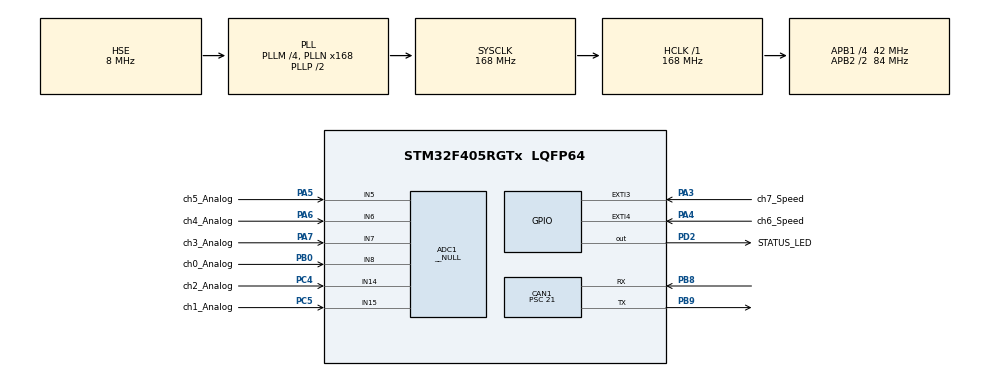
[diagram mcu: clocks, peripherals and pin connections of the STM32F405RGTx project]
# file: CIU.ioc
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ADC1.Channel-10\#ChannelRegularConversion=ADC_CHANNEL_6
ADC1.Channel-11\#ChannelRegularConversion=ADC_CHANNEL_5
ADC1.Channel-6\#ChannelRegularConversion=ADC_CHANNEL_8
ADC1.Channel-7\#ChannelRegularConversion=ADC_CHANNEL_15
ADC1.Channel-8\#ChannelRegularConversion=ADC_CHANNEL_14
ADC1.Channel-9\#ChannelRegularConversion=ADC_CHANNEL_7
ADC1.ClockPrescaler=ADC_CLOCK_SYNC_PCLK_DIV4
ADC1.ContinuousConvMode=DISABLE
ADC1.DMAContinuousRequests=DISABLE
ADC1.EOCSelection=ADC_EOC_SEQ_CONV
ADC1.Mode=__NULL
ADC1.NbrOfConversion=6
ADC1.NbrOfConversionFlag=1
ADC1.Rank-10\#ChannelRegularConversion=5
ADC1.Rank-11\#ChannelRegularConversion=6
ADC1.Rank-6\#ChannelRegularConversion=1
ADC1.Rank-7\#ChannelRegularConversion=2
ADC1.Rank-8\#ChannelRegularConversion=3
ADC1.Rank-9\#ChannelRegularConversion=4
ADC1.SamplingTime-10\#ChannelRegularConversion=ADC_SAMPLETIME_56CYCLES
ADC1.SamplingTime-11\#ChannelRegularConversion=ADC_SAMPLETIME_56CYCLES
ADC1.SamplingTime-6\#ChannelRegularConversion=ADC_SAMPLETIME_56CYCLES
ADC1.SamplingTime-7\#ChannelRegularConversion=ADC_SAMPLETIME_56CYCLES
ADC1.SamplingTime-8\#ChannelRegularConversion=ADC_SAMPLETIME_56CYCLES
ADC1.SamplingTime-9\#ChannelRegularConversion=ADC_SAMPLETIME_56CYCLES
ADC1.ScanConvMode=ENABLE
ADC1.master=1
CAN1.BS1=CAN_BS1_2TQ
CAN1.CalculateBaudRate=500000
CAN1.CalculateTimeBit=2000
CAN1.CalculateTimeQuantum=500.0
CAN1.Prescaler=21
Dma.ADC1.0.Direction=DMA_PERIPH_TO_MEMORY
Dma.ADC1.0.FIFOMode=DMA_FIFOMODE_DISABLE
Dma.ADC1.0.Instance=DMA2_Stream0
Dma.ADC1.0.MemDataAlignment=DMA_MDATAALIGN_HALFWORD
Dma.ADC1.0.MemInc=DMA_MINC_ENABLE
Dma.ADC1.0.Mode=DMA_CIRCULAR
Dma.ADC1.0.PeriphDataAlignment=DMA_PDATAALIGN_HALFWORD
Dma.ADC1.0.PeriphInc=DMA_PINC_DISABLE
Dma.ADC1.0.Priority=DMA_PRIORITY_VERY_HIGH
Dma.Request0=ADC1
Mcu.Family=STM32F4
Mcu.Name=STM32F405RGTx
Mcu.Package=LQFP64
NVIC.ADC_IRQn=true\:1\:0\:true\:false\:true\:true\:true\:true
NVIC.DMA2_Stream0_IRQn=true\:0\:0\:false\:false\:true\:false\:true\:true
NVIC.EXTI3_IRQn=true\:2\:0\:true\:false\:true\:true\:true\:true
NVIC.EXTI4_IRQn=true\:2\:0\:true\:false\:true\:true\:true\:true
NVIC.PriorityGroup=NVIC_PRIORITYGROUP_4
NVIC.TIM3_IRQn=true\:3\:0\:true\:false\:true\:true\:true\:true
PA13.Mode=Serial_Wire
PA13.Signal=SYS_JTMS-SWDIO
PA14.Mode=Serial_Wire
PA14.Signal=SYS_JTCK-SWCLK
PA3.GPIO_Label=ch7_Speed
PA3.GPIO_PuPd=GPIO_PULLDOWN
PA3.Signal=GPXTI3
PA4.GPIO_Label=ch6_Speed
PA4.GPIO_PuPd=GPIO_PULLDOWN
PA4.Signal=GPXTI4
PA5.GPIO_Label=ch5_Analog
PA5.Signal=ADCx_IN5
PA6.GPIO_Label=ch4_Analog
PA6.Signal=ADCx_IN6
PA7.GPIO_Label=ch3_Analog
PA7.Signal=ADCx_IN7
PB0.GPIO_Label=ch0_Analog
PB0.Signal=ADCx_IN8
PB8.Mode=CAN_Activate
PB8.Signal=CAN1_RX
PB9.Mode=CAN_Activate
PB9.Signal=CAN1_TX
PC4.GPIO_Label=ch2_Analog
PC4.Signal=ADCx_IN14
PC5.GPIO_Label=ch1_Analog
PC5.Signal=ADCx_IN15
PD2.GPIO_Label=STATUS_LED
PD2.Signal=GPIO_Output
PH0-OSC_IN.Mode=HSE-External-Oscillator
PH0-OSC_IN.Signal=RCC_OSC_IN
PH1-OSC_OUT.Mode=HSE-External-Oscillator
PH1-OSC_OUT.Signal=RCC_OSC_OUT
ProjectManager.HeapSize=0x200
ProjectManager.StackSize=0x400
ProjectManager.TargetToolchain=CMake
RCC.48MHZClocksFreq_Value=84000000
RCC.AHBFreq_Value=168000000
RCC.APB1CLKDivider=RCC_HCLK_DIV4
RCC.APB1Freq_Value=42000000
RCC.APB1TimFreq_Value=84000000
RCC.APB2CLKDivider=RCC_HCLK_DIV2
RCC.APB2Freq_Value=84000000
RCC.APB2TimFreq_Value=168000000
RCC.CortexFreq_Value=168000000
RCC.HCLKFreq_Value=168000000
RCC.HSE_VALUE=8000000
RCC.HSI_VALUE=16000000
RCC.LSE_VALUE=32768
RCC.PLLM=4
RCC.PLLN=168
RCC.PLLSourceVirtual=RCC_PLLSOURCE_HSE
RCC.SYSCLKFreq_VALUE=168000000
RCC.SYSCLKSource=RCC_SYSCLKSOURCE_PLLCLK
RCC.VCOOutputFreq_Value=336000000
SH.ADCx_IN14.0=ADC1_IN14,IN14
SH.ADCx_IN15.0=ADC1_IN15,IN15
SH.ADCx_IN5.0=ADC1_IN5,IN5
SH.ADCx_IN6.0=ADC1_IN6,IN6
SH.ADCx_IN7.0=ADC1_IN7,IN7
SH.ADCx_IN8.0=ADC1_IN8,IN8
TIM3.Period=1000
TIM3.Prescaler=8400
VP_TIM3_VS_ClockSourceINT.Mode=Internal
board=custom

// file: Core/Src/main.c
/* USER CODE BEGIN Header */
/**
  ******************************************************************************
  * @file           : main.c
  * @brief          : Main program body
  ******************************************************************************
  * @attention
  *
  * Copyright (c) 2024 STMicroelectronics.
  * All rights reserved.
  *
  * This software is licensed under terms that can be found in the LICENSE file
  * in the root directory of this software component.
  * If no LICENSE file comes with this software, it is provided AS-IS.
  *
  ******************************************************************************
  */
/* USER CODE END Header */
#include "main.h"

/* USER CODE BEGIN Includes */
#include "stdint.h"
#include "stdio.h"
#include "string.h"
#include "stdbool.h"
#include "interruptHandler.h"
#include "canBus.h"
#include "adc.h"
#include "common_defs.h"

/* USER CODE END Includes */

ADC_HandleTypeDef hadc1;
DMA_HandleTypeDef hdma_adc1;

CAN_HandleTypeDef hcan1;

TIM_HandleTypeDef htim3;

void SystemClock_Config(void);
static void MX_GPIO_Init(void);
static void MX_DMA_Init(void);
static void MX_CAN1_Init(void);
static void MX_TIM3_Init(void);
static void MX_ADC1_Init(void);

int main(void)
{

  /* MCU Configuration--------------------------------------------------------*/

  /* Reset of all peripherals, Initializes the Flash interface and the Systick. */
  HAL_Init();

  /* USER CODE BEGIN Init */

  // initCANHeader();

  /* USER CODE END Init */

  /* Configure the system clock */
  SystemClock_Config();

  /* Initialize all configured peripherals */
  MX_GPIO_Init();
  MX_DMA_Init();
  MX_CAN1_Init();
  MX_TIM3_Init();
  MX_ADC1_Init();
  /* USER CODE BEGIN 2 */

  HAL_CAN_Start(&hcan1);
  HAL_TIM_Base_Start_IT(&htim3);
  adc_start_dma();

  /* USER CODE END 2 */

  /* Infinite loop */
  while (1)
  {

    /* USER CODE BEGIN 3 */

    HAL_Delay(1000);

  }
  /* USER CODE END 3 */
}

void SystemClock_Config(void)
{
  RCC_OscInitTypeDef RCC_OscInitStruct = {0};
  RCC_ClkInitTypeDef RCC_ClkInitStruct = {0};

  /** Configure the main internal regulator output voltage
  */
  __HAL_RCC_PWR_CLK_ENABLE();
  __HAL_PWR_VOLTAGESCALING_CONFIG(PWR_REGULATOR_VOLTAGE_SCALE1);

  /** Initializes the RCC Oscillators according to the specified parameters
  * in the RCC_OscInitTypeDef structure.
  */
  RCC_OscInitStruct.OscillatorType = RCC_OSCILLATORTYPE_HSE;
  RCC_OscInitStruct.HSEState = RCC_HSE_ON;
  RCC_OscInitStruct.PLL.PLLState = RCC_PLL_ON;
  RCC_OscInitStruct.PLL.PLLSource = RCC_PLLSOURCE_HSE;
  RCC_OscInitStruct.PLL.PLLM = 4;
  RCC_OscInitStruct.PLL.PLLN = 168;
  RCC_OscInitStruct.PLL.PLLP = RCC_PLLP_DIV2;
  RCC_OscInitStruct.PLL.PLLQ = 4;
  if (HAL_RCC_OscConfig(&RCC_OscInitStruct) != HAL_OK)
  {
    Error_Handler();
  }

  /** Initializes the CPU, AHB and APB buses clocks
  */
  RCC_ClkInitStruct.ClockType = RCC_CLOCKTYPE_HCLK|RCC_CLOCKTYPE_SYSCLK
                              |RCC_CLOCKTYPE_PCLK1|RCC_CLOCKTYPE_PCLK2;
  RCC_ClkInitStruct.SYSCLKSource = RCC_SYSCLKSOURCE_PLLCLK;
  RCC_ClkInitStruct.AHBCLKDivider = RCC_SYSCLK_DIV1;
  RCC_ClkInitStruct.APB1CLKDivider = RCC_HCLK_DIV4;
  RCC_ClkInitStruct.APB2CLKDivider = RCC_HCLK_DIV2;

  if (HAL_RCC_ClockConfig(&RCC_ClkInitStruct, FLASH_LATENCY_5) != HAL_OK)
  {
    Error_Handler();
  }
}

static void MX_ADC1_Init(void)
{

  ADC_ChannelConfTypeDef sConfig = {0};

  /** Configure the global features of the ADC (Clock, Resolution, Data Alignment and number of conversion)
  */
  hadc1.Instance = ADC1;
  hadc1.Init.ClockPrescaler = ADC_CLOCK_SYNC_PCLK_DIV4;
  hadc1.Init.Resolution = ADC_RESOLUTION_12B;
  hadc1.Init.ScanConvMode = ENABLE;
  hadc1.Init.ContinuousConvMode = DISABLE;
  hadc1.Init.DiscontinuousConvMode = DISABLE;
  hadc1.Init.ExternalTrigConvEdge = ADC_EXTERNALTRIGCONVEDGE_NONE;
  hadc1.Init.ExternalTrigConv = ADC_SOFTWARE_START;
  hadc1.Init.DataAlign = ADC_DATAALIGN_RIGHT;
  hadc1.Init.NbrOfConversion = 6;
  hadc1.Init.DMAContinuousRequests = DISABLE;
  hadc1.Init.EOCSelection = ADC_EOC_SEQ_CONV;
  if (HAL_ADC_Init(&hadc1) != HAL_OK)
  {
    Error_Handler();
  }

  /** Configure for the selected ADC regular channel its corresponding rank in the sequencer and its sample time.
  */
  sConfig.Channel = ADC_CHANNEL_8;
  sConfig.Rank = 1;
  sConfig.SamplingTime = ADC_SAMPLETIME_56CYCLES;
  if (HAL_ADC_ConfigChannel(&hadc1, &sConfig) != HAL_OK)
  {
    Error_Handler();
  }

  /** Configure for the selected ADC regular channel its corresponding rank in the sequencer and its sample time.
  */
  sConfig.Channel = ADC_CHANNEL_15;
  sConfig.Rank = 2;
  if (HAL_ADC_ConfigChannel(&hadc1, &sConfig) != HAL_OK)
  {
    Error_Handler();
  }

  /** Configure for the selected ADC regular channel its corresponding rank in the sequencer and its sample time.
  */
  sConfig.Channel = ADC_CHANNEL_14;
  sConfig.Rank = 3;
  if (HAL_ADC_ConfigChannel(&hadc1, &sConfig) != HAL_OK)
  {
    Error_Handler();
  }

  /** Configure for the selected ADC regular channel its corresponding rank in the sequencer and its sample time.
  */
  sConfig.Channel = ADC_CHANNEL_7;
  sConfig.Rank = 4;
  if (HAL_ADC_ConfigChannel(&hadc1, &sConfig) != HAL_OK)
  {
    Error_Handler();
  }

  /** Configure for the selected ADC regular channel its corresponding rank in the sequencer and its sample time.
  */
  sConfig.Channel = ADC_CHANNEL_6;
  sConfig.Rank = 5;
  if (HAL_ADC_ConfigChannel(&hadc1, &sConfig) != HAL_OK)
  {
    Error_Handler();
  }

  /** Configure for the selected ADC regular channel its corresponding rank in the sequencer and its sample time.
  */
  sConfig.Channel = ADC_CHANNEL_5;
  sConfig.Rank = 6;
  if (HAL_ADC_ConfigChannel(&hadc1, &sConfig) != HAL_OK)
  {
    Error_Handler();
  }
  /* USER CODE BEGIN ADC1_Init 2 */

  __HAL_LINKDMA(&hadc1, DMA_Handle, hdma_adc1);

  HAL_NVIC_SetPriority(ADC_IRQn, 1, 0);  // Lower priority than DMA
  HAL_NVIC_EnableIRQ(ADC_IRQn);

  /* USER CODE END ADC1_Init 2 */

}

static void MX_CAN1_Init(void)
{

  hcan1.Instance = CAN1;
  hcan1.Init.Prescaler = 21;
  hcan1.Init.Mode = CAN_MODE_NORMAL;
  hcan1.Init.SyncJumpWidth = CAN_SJW_1TQ;
  hcan1.Init.TimeSeg1 = CAN_BS1_2TQ;
  hcan1.Init.TimeSeg2 = CAN_BS2_1TQ;
  hcan1.Init.TimeTriggeredMode = DISABLE;
  hcan1.Init.AutoBusOff = DISABLE;
  hcan1.Init.AutoWakeUp = DISABLE;
  hcan1.Init.AutoRetransmission = DISABLE;
  hcan1.Init.ReceiveFifoLocked = DISABLE;
  hcan1.Init.TransmitFifoPriority = DISABLE;
  if (HAL_CAN_Init(&hcan1) != HAL_OK)
  {
    Error_Handler();
  }

}

static void MX_TIM3_Init(void)
{

  TIM_ClockConfigTypeDef sClockSourceConfig = {0};
  TIM_MasterConfigTypeDef sMasterConfig = {0};

  htim3.Instance = TIM3;
  htim3.Init.Prescaler = 8400;
  htim3.Init.CounterMode = TIM_COUNTERMODE_UP;
  htim3.Init.Period = 1000;
  htim3.Init.ClockDivision = TIM_CLOCKDIVISION_DIV1;
  htim3.Init.AutoReloadPreload = TIM_AUTORELOAD_PRELOAD_DISABLE;
  if (HAL_TIM_Base_Init(&htim3) != HAL_OK)
  {
    Error_Handler();
  }
  sClockSourceConfig.ClockSource = TIM_CLOCKSOURCE_INTERNAL;
  if (HAL_TIM_ConfigClockSource(&htim3, &sClockSourceConfig) != HAL_OK)
  {
    Error_Handler();
  }
  sMasterConfig.MasterOutputTrigger = TIM_TRGO_RESET;
  sMasterConfig.MasterSlaveMode = TIM_MASTERSLAVEMODE_DISABLE;
  if (HAL_TIMEx_MasterConfigSynchronization(&htim3, &sMasterConfig) != HAL_OK)
  {
    Error_Handler();
  }

}

static void MX_DMA_Init(void)
{

  /* DMA controller clock enable */
  __HAL_RCC_DMA2_CLK_ENABLE();

  /* DMA interrupt init */
  /* DMA2_Stream0_IRQn interrupt configuration */
  HAL_NVIC_SetPriority(DMA2_Stream0_IRQn, 0, 0);
  HAL_NVIC_EnableIRQ(DMA2_Stream0_IRQn);

}

static void MX_GPIO_Init(void)
{
  GPIO_InitTypeDef GPIO_InitStruct = {0};

  /* GPIO Ports Clock Enable */
  __HAL_RCC_GPIOH_CLK_ENABLE();
  __HAL_RCC_GPIOA_CLK_ENABLE();
  __HAL_RCC_GPIOC_CLK_ENABLE();
  __HAL_RCC_GPIOB_CLK_ENABLE();
  __HAL_RCC_GPIOD_CLK_ENABLE();

  /*Configure GPIO pin Output Level */
  HAL_GPIO_WritePin(STATUS_LED_GPIO_Port, STATUS_LED_Pin, GPIO_PIN_RESET);

  /*Configure GPIO pins : ch7_Speed_Pin ch6_Speed_Pin */
  GPIO_InitStruct.Pin = ch7_Speed_Pin|ch6_Speed_Pin;
  GPIO_InitStruct.Mode = GPIO_MODE_IT_RISING;
  GPIO_InitStruct.Pull = GPIO_PULLDOWN;
  HAL_GPIO_Init(GPIOA, &GPIO_InitStruct);

  /*Configure GPIO pin : STATUS_LED_Pin */
  GPIO_InitStruct.Pin = STATUS_LED_Pin;
  GPIO_InitStruct.Mode = GPIO_MODE_OUTPUT_PP;
  GPIO_InitStruct.Pull = GPIO_NOPULL;
  GPIO_InitStruct.Speed = GPIO_SPEED_FREQ_LOW;
  HAL_GPIO_Init(STATUS_LED_GPIO_Port, &GPIO_InitStruct);

  /* EXTI interrupt init*/
  HAL_NVIC_SetPriority(EXTI3_IRQn, 2, 0);
  HAL_NVIC_EnableIRQ(EXTI3_IRQn);

  HAL_NVIC_SetPriority(EXTI4_IRQn, 2, 0);
  HAL_NVIC_EnableIRQ(EXTI4_IRQn);

}

void Error_Handler(void)
{
  __disable_irq();
  while (1)
  {
  }
}
